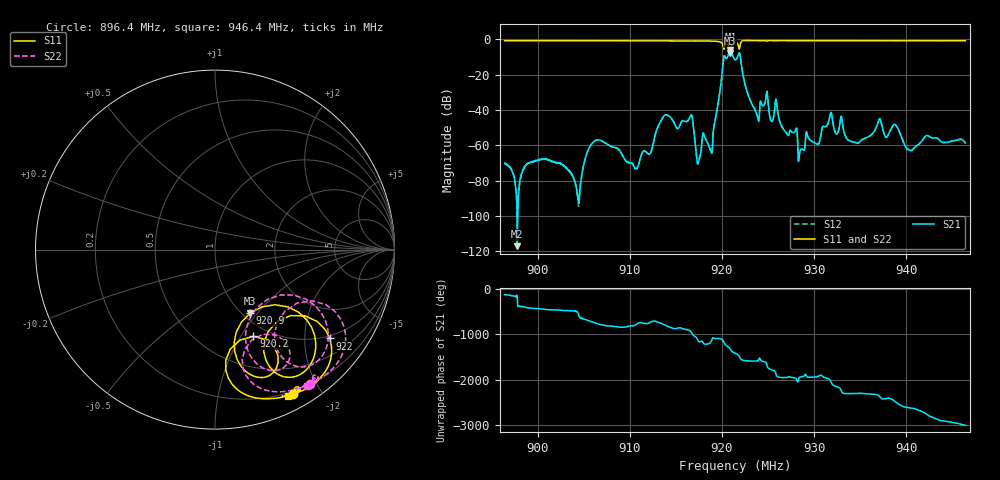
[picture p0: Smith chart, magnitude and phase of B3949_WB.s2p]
! Matrix data file written by TouchstoneData, EPCOS AG
! FILENAME: "newformat_AB71A.PCB2.UM.MB.s2p"
! COMMENT: "(AB71A.PCB2.UM.MB.s2p)"
! INFO: nport=2, nfreq=1601
! DATE: "Mon Jan 13 17:13:54 2014"
! USER: "Lynn Zhu"
! port | pin | signal
!  1  |  1  |  IN
!  2  |  4  |  OUT
# MHZ S MA R 50
! freq  magS11 angS11  magS21 angS21  magS12 angS12  magS22 angS22
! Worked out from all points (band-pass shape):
!   1601 points, 896.4 MHz to 946.4 MHz, reference 50 ohm
!   highest |S21| = -5.91 dB at 920.9 MHz (marker M1); lowest = -117.1 dB at 897.8 MHz (marker M2)
!   |S21| within 3 dB of the highest: 920.6949 MHz to 921.1539 MHz (459 kHz wide, 0.0498 % of centre); 921.7698 MHz to 921.965 MHz (195.2 kHz wide, 0.0212 % of centre)
!   lowest |S11| = -7.9 dB at 920.9 MHz (marker M3), VSWR 2.36, Z = 54.3 - j45.9 ohm
!   |S11| at or under -10 dB: nowhere
!   |S22| runs from -8.0 to -0.6 dB; largest |S21 - S12| = 0.0011
!   S11 on the Smith chart (normalised r, x): 896.4 MHz: 0.17, -1.66; 920.2 MHz: 0.85, -1.14; 920.9 MHz: 1.09, -0.92; 922 MHz: 0.92, -2.64; 946.4 MHz: 0.16, -1.60
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896.42  0.9146 -61.8  0.0003129 -128.2  0.0003098 -126.0  0.9184 -54.6
897.795  0.9142 -61.9  1.393e-06 -166.7  1.138e-05 -161.6  0.9178 -54.7
900.5137  0.914 -62.2  0.0004063 -85.0  0.0004011 -83.7  0.9176 -54.9
904.7637  0.9121 -62.7  0.0001224 77.4  0.0001267 72.8  0.916 -55.4
906.5137  0.9111 -62.8  0.001431 -47.4  0.00144 -47.4  0.9146 -55.5
910.7325  0.91 -63.5  0.0002128 -58.9  0.0002169 -57.7  0.9136 -56.2
913.1075  0.9058 -64.1  0.003559 -16.2  0.003553 -16.1  0.9091 -56.8
916.5762  0.8992 -65.3  0.006656 151.4  0.006648 151.4  0.9021 -58.0
917.42  0.9018 -66.0  0.0003128 -65.5  0.0003149 -62.8  0.9046 -58.6
918.7325  0.8921 -68.4  0.0007455 -102.7  0.0007419 -102.5  0.8944 -61.0
920.2325  0.5288 -66.1  0.3341 -100.0  0.3335 -100.0  0.5419 -60.5
920.8887  0.4042 -60.9  0.4987 120.2  0.4977 120.2  0.3988 -53.9
920.92  0.4128 -50.6  0.5066 110.8  0.5056 110.8  0.4035 -43.3
921.42  0.8426 -55.3  0.2657 29.4  0.2653 29.3  0.8435 -47.8
922.045  0.8087 -37.8  0.2566 -101.3  0.2562 -101.3  0.8063 -29.2
923.795  0.9233 -58.6  0.007371 -144.6  0.007357 -144.6  0.9268 -50.9
924.795  0.9067 -60.5  0.02433 174.8  0.0243 174.8  0.9094 -52.9
928.4825  0.9173 -61.5  0.0006773 -138.4  0.000675 -138.4  0.9203 -54.0
929.7637  0.9162 -62.0  0.001292 -140.5  0.001292 -140.7  0.9191 -54.4
931.7637  0.9084 -62.5  0.007694 146.9  0.007685 147.0  0.9106 -55.0
938.1075  0.9086 -63.1  0.002138 118.0  0.002144 118.0  0.9109 -55.5
946.42  0.9119 -63.6  0.00116 -120.3  0.00116 -120.5  0.9135 -56.0
